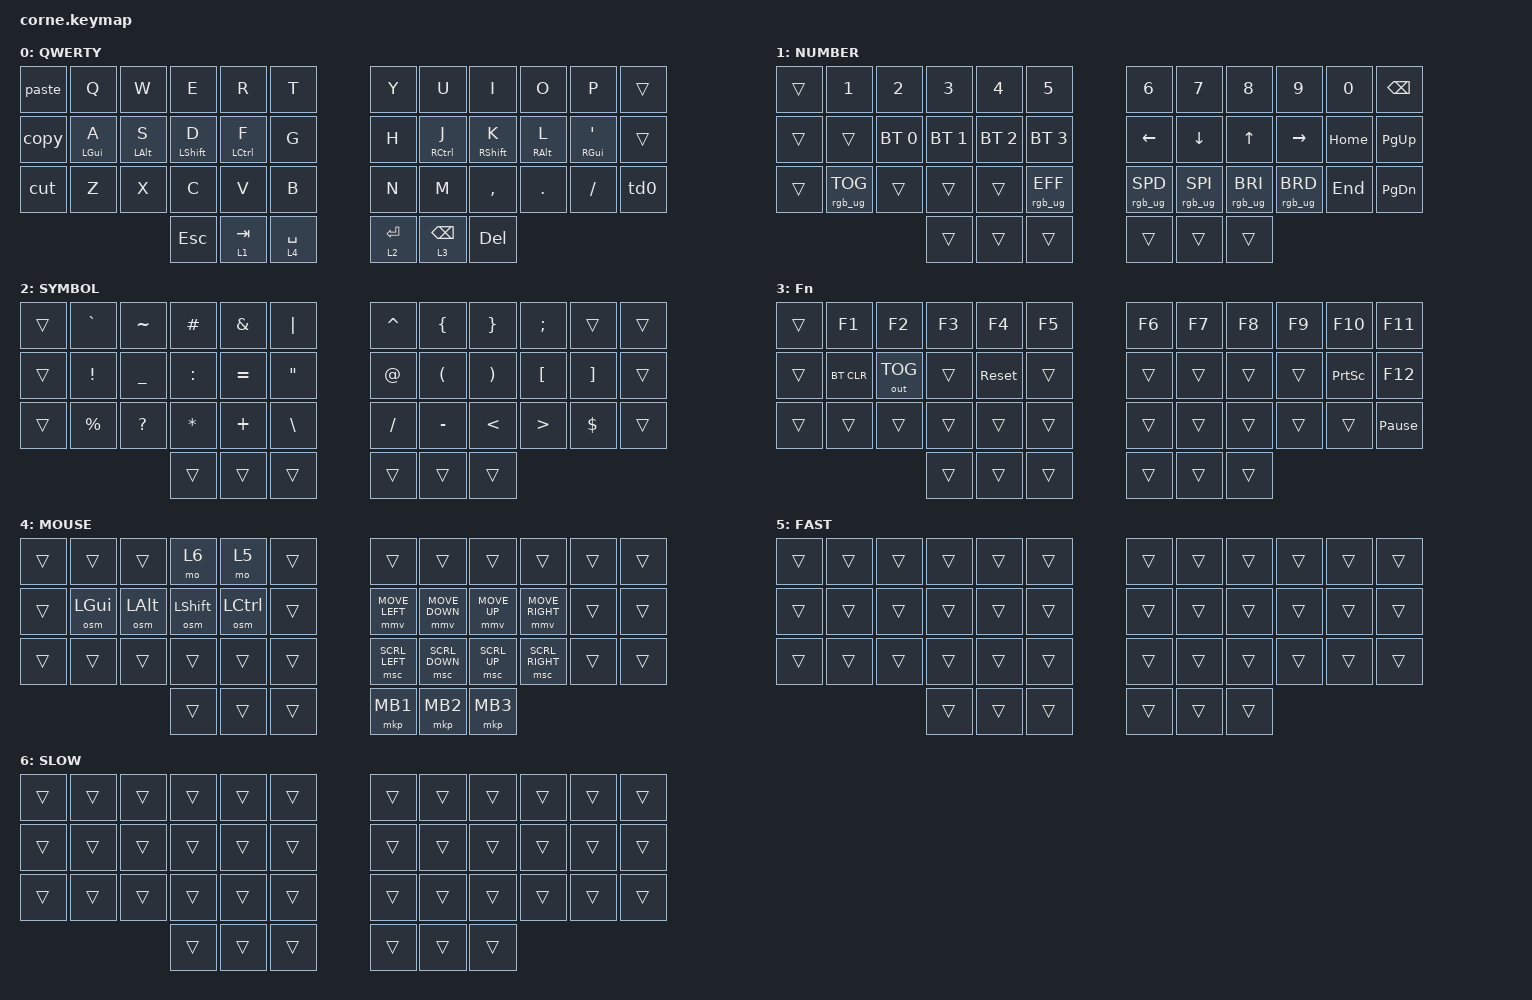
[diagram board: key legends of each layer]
/*
 * Copyright (c) 2020 The ZMK Contributors
 *
 * SPDX-License-Identifier: MIT
 */

#include <behaviors.dtsi>
#include <dt-bindings/zmk/bt.h>
#include <dt-bindings/zmk/keys.h>
#include <dt-bindings/zmk/outputs.h>
#include <dt-bindings/zmk/pointing.h>
#include <dt-bindings/zmk/rgb.h>
#include <input/processors.dtsi>

/ {
    chosen {
        zmk,matrix_transform = &default_transform;

        // zmk,matrix_transform = &five_column_transform;
    };
};

// Cursor speed modifiers. Layers 5 (sprint) and 6 (precision) hold no bindings
// of their own -- they exist only as a signal to these listener overrides,
// which rescale the pointer output while the layer is active. Scaling happens
// after the mmv behavior generates movement, so it multiplies whatever the
// normal acceleration ramp has reached rather than replacing it.
//
// The numbers are <multiplier divisor>: sprint is 4x, precision is 1/4.
// track-remainders is already set on the stock zip_xy_scaler, so the 1/4
// division accumulates leftover fractions instead of rounding them away to
// zero -- that is what makes slow mode move smoothly instead of stuttering.
//
// Order matters: overrides are checked top to bottom, and the first matching
// one wins unless it sets process-next. Sprint is listed first so that holding
// both keys at once resolves to sprint rather than fighting.
&mmv_input_listener {
    sprint {
        layers = <5>;
        input-processors = <&zip_xy_scaler 4 1>;
    };

    precision {
        layers = <6>;
        input-processors = <&zip_xy_scaler 1 4>;
    };
};

// Scrolling gets the same treatment, so the speed keys work on the scroll
// column too. Scroll values are small integers (default 10/s), so a 4x
// divisor without remainder tracking would floor to zero and stop scrolling
// entirely; zip_scroll_scaler tracks remainders for exactly this reason.
&msc_input_listener {
    sprint {
        layers = <5>;
        input-processors = <&zip_scroll_scaler 3 1>;
    };

    precision {
        layers = <6>;
        input-processors = <&zip_scroll_scaler 1 3>;
    };
};

/ {
    behaviors {
        td0: td0 {
            compatible = "zmk,behavior-tap-dance";
            #binding-cells = <0>;
            bindings = <&caps_word>, <&kp CAPS>;
        };

        // Home row mods, "timerless" style (urob). The long tapping-term is
        // deliberate: require-prior-idle-ms does the real work by forcing a tap
        // whenever the key is pressed within 150ms of another key, which is what
        // fast typing looks like. hold-trigger-on-release defers the positional
        // check to release so two mods on the same hand can still be combined.
        // Tuning: same-hand false mods -> raise tapping-term-ms;
        //         cross-hand false mods -> raise require-prior-idle-ms;
        //         missed mods when typing fast -> lower require-prior-idle-ms.
        hml: hml {
            compatible = "zmk,behavior-hold-tap";
            bindings = <&kp>, <&kp>;

            #binding-cells = <2>;
            flavor = "balanced";
            tapping-term-ms = <280>;
            quick-tap-ms = <175>;
            require-prior-idle-ms = <150>;
            hold-trigger-on-release;
            hold-trigger-key-positions = <6 7 8 9 10 11 18 19 20 21 22 23 30 31 32 33 34 35 39 40 41>;
        };

        hmr: hmr {
            compatible = "zmk,behavior-hold-tap";
            bindings = <&kp>, <&kp>;

            #binding-cells = <2>;
            flavor = "balanced";
            tapping-term-ms = <280>;
            quick-tap-ms = <175>;
            require-prior-idle-ms = <150>;
            hold-trigger-on-release;
            hold-trigger-key-positions = <0 1 2 3 4 5 12 13 14 15 16 17 24 25 26 27 28 29 36 37 38>;
        };

        osm: osm {
            compatible = "zmk,behavior-sticky-key";
            bindings = <&kp>;
            #binding-cells = <1>;
            release-after-ms = <1000>;
            lazy;
            ignore-modifiers;
            quick-release;
        };
    };

    combos { compatible = "zmk,combos"; };

    macros {
        copy: copy {
            compatible = "zmk,behavior-macro";
            #binding-cells = <0>;
            bindings =
                <&macro_press>,
                <&kp LCTRL>,
                <&macro_tap>,
                <&kp INS>,
                <&macro_release>,
                <&kp LCTRL>;
        };

        paste: paste {
            compatible = "zmk,behavior-macro";
            #binding-cells = <0>;
            bindings =
                <&macro_press>,
                <&kp LSHFT>,
                <&macro_tap>,
                <&kp INS>,
                <&macro_release>,
                <&kp LSHFT>;
        };

        cut: cut {
            compatible = "zmk,behavior-macro";
            #binding-cells = <0>;
            bindings =
                <&macro_press>,
                <&kp LSHFT>,
                <&macro_tap>,
                <&kp DEL>,
                <&macro_release>,
                <&kp LSHFT>;
        };
    };

    keymap {
        compatible = "zmk,keymap";

        default_layer {
            display-name = "QWERTY";

            // ---------------------------------------------------------------------------------------------
            // | PASTE |  Q  |  W  |  E  |  R  |  T  |   |  Y  |  U  |  I  |  O  |  P  |     |
            // | COPY  |  A  |  S  |  D  |  F  |  G  |   |  H  |  J  |  K  |  L  |  '  |     |
            // | CUT   |  Z  |  X  |  C  |  V  |  B  |   |  N  |  M  |  ,  |  .  |  /  | TD0 |
            //                    | ESC | TAB | SPC |   | ENT | BSPC | DEL |
            //
            // Left column is paste/copy/cut (Shift+Ins / Ctrl+Ins / Shift+Del) -- terminal-safe.
            // Home row is mods: A=GUI S=ALT D=SHFT F=CTRL / J=CTRL K=SHFT L=ALT '=GUI.
            // Thumbs are layer-taps: TAB=L1 SPC=L4 ENT=L2 BSPC=L3. TD0 = caps-word / CAPS.
            // Positions 11 and 23 are unassigned.

            bindings = <
&paste  &kp Q        &kp W        &kp E         &kp R         &kp T          &kp Y        &kp U         &kp I         &kp O        &kp P                   &trans
&copy   &hml LGUI A  &hml LALT S  &hml LSHFT D  &hml LCTRL F  &kp G          &kp H        &hmr RCTRL J  &hmr RSHFT K  &hmr RALT L  &hmr RGUI SINGLE_QUOTE  &trans
&cut    &kp Z        &kp X        &kp C         &kp V         &kp B          &kp N        &kp M         &kp COMMA     &kp DOT      &kp FSLH                &td0
                                  &kp ESC       &lt 1 TAB     &lt 4 SPACE    &lt 2 ENTER  &lt 3 BSPC    &kp DEL
            >;
        };

        lower_layer {
            display-name = "NUMBER";

            // -----------------------------------------------------------------------------------------------------
            // |     |   1    |   2   |   3   |   4   |   5   |   |   6  |   7  |  8  |  9  |  0   | BSPC |
            // |     |        | BT 0  | BT 1  | BT 2  | BT 3  |   | LEFT | DOWN |  UP | RGT | HOME | PGUP |
            // |     | RGB_TOG|       |       |       |RGB_EFF|   | SPD  | SPI  | BRI | BRD | END  | PGDN |
            //                       |     |     |     |   |     |     |     |
            //
            // Position 13 is deliberately empty. It used to hold BT_CLR_ALL, which
            // sat under the same hand as the TAB layer key and one column from
            // BT_SEL 0 -- a single slip wiped every pairing. To clear the current
            // profile, use BT_CLR on the Fn layer (cross-hand).

            bindings = <
&trans  &kp N1           &kp N2        &kp N3        &kp N4        &kp N5             &kp N6           &kp N7           &kp N8           &kp N9           &kp N0    &kp BSPC
&trans  &trans           &bt BT_SEL 0  &bt BT_SEL 1  &bt BT_SEL 2  &bt BT_SEL 3       &kp LEFT         &kp DOWN         &kp UP           &kp RIGHT        &kp HOME  &kp PG_UP
&trans  &rgb_ug RGB_TOG  &trans        &trans        &trans        &rgb_ug RGB_EFF    &rgb_ug RGB_SPD  &rgb_ug RGB_SPI  &rgb_ug RGB_BRI  &rgb_ug RGB_BRD  &kp END   &kp PG_DN
                                       &trans        &trans        &trans             &trans           &trans           &trans
            >;
        };

        raise_layer {
            display-name = "SYMBOL";

            // -----------------------------------------------------------------------------------
            // |     |  `  |  ~  |  #  |  &  | "|" |   |  ^  |  {  |  }  |  ;  |     |     |
            // |     |  !  |  _  |  :  |  =  |  "  |   |  @  |  (  |  )  |  [  |  ]  |     |
            // |     |  %  |  ?  |  *  |  +  |  \  |   |  /  |  -  |  <  |  >  |  $  |     |
            //                   |     |     |     |   |     |     |     |

            bindings = <
&trans  &kp GRAVE    &kp TILDE  &kp HASH   &kp AMPS   &kp PIPE             &kp CARET  &kp LBRC              &kp RBRC               &kp SEMI          &trans             &trans
&trans  &kp EXCL     &kp UNDER  &kp COLON  &kp EQUAL  &kp DOUBLE_QUOTES    &kp AT     &kp LEFT_PARENTHESIS  &kp RIGHT_PARENTHESIS  &kp LEFT_BRACKET  &kp RIGHT_BRACKET  &trans
&trans  &kp PERCENT  &kp QMARK  &kp ASTRK  &kp PLUS   &kp BACKSLASH        &kp SLASH  &kp MINUS             &kp LT                 &kp GT            &kp DOLLAR         &trans
                                &trans     &trans     &trans               &trans     &trans                &trans
            >;
        };

        fn_layer {
            display-name = "Fn";

            // No bootloader key. One sat at pos 30 (N), the same hand as the
            // BSPC layer key, so a pause on backspace then N dropped the right
            // half into flashing mode. Flashing uses the double-tap reset button.
            // BT_CLR (A) and sys_reset (F) are cross-hand from BSPC, so a stray
            // hit needs both hands.

            bindings = <
&trans  &kp F1      &kp F2        &kp F3  &kp F4      &kp F5    &kp F6       &kp F7  &kp F8  &kp F9  &kp F10          &kp F11
&trans  &bt BT_CLR  &out OUT_TOG  &trans  &sys_reset  &trans    &trans       &trans  &trans  &trans  &kp PRINTSCREEN  &kp F12
&trans  &trans      &trans        &trans  &trans      &trans    &trans       &trans  &trans  &trans  &trans           &kp PAUSE_BREAK
                                  &trans  &trans      &trans    &trans       &trans  &trans
            >;
        };

        mouse_layer {
            display-name = "MOUSE";

            // ---------------------------------------------------------------------------------------------
            // |     |     |     | SLOW | FAST |     |   | <-  |  v  |  ^  |  -> |     |     |
            // |     | GUI | ALT | SHFT | CTRL |     |   | SL  | SD  | SU  | SR  |     |     |
            // |     |     |     |      |      |     |   | MB1 | MB2 | MB3 |     |     |     |
            //
            // Entered by holding the SPACE thumb. Right hand drives: home row moves the
            // cursor, row below scrolls, thumbs are the three mouse buttons.
            // Left hand modifies: E-slot = precision (1/4 speed), R-slot = sprint (4x).
            // Hold either while the right hand moves. Home-row sticky mods are for
            // ctrl/shift-click -- tap the mod, then click.

            bindings = <
&trans  &trans     &trans     &mo 6       &mo 5       &trans         &trans          &trans          &trans        &trans           &trans  &trans
&trans  &osm LGUI  &osm LALT  &osm LSHFT  &osm LCTRL  &trans         &mmv MOVE_LEFT  &mmv MOVE_DOWN  &mmv MOVE_UP  &mmv MOVE_RIGHT  &trans  &trans
&trans  &trans     &trans     &trans      &trans      &trans         &msc SCRL_LEFT  &msc SCRL_DOWN  &msc SCRL_UP  &msc SCRL_RIGHT  &trans  &trans
                              &trans      &trans      &trans         &mkp MB1        &mkp MB2        &mkp MB3
            >;
        };

        // Layers 5 and 6 carry no bindings on purpose. They are pure signals
        // for the &mmv_input_listener / &msc_input_listener overrides at the
        // top of this file, which rescale cursor and scroll output while one
        // is active. Every position is &trans so the mouse layer underneath
        // stays fully usable -- move, scroll, click and the sticky mods all
        // keep working while a speed key is held.
        //
        // Do not put real bindings here. Adding one would shadow the mouse
        // layer key at that position for as long as the speed key is held.

        sprint_layer {
            display-name = "FAST";
            bindings = <
&trans  &trans  &trans  &trans  &trans  &trans    &trans  &trans  &trans  &trans  &trans  &trans
&trans  &trans  &trans  &trans  &trans  &trans    &trans  &trans  &trans  &trans  &trans  &trans
&trans  &trans  &trans  &trans  &trans  &trans    &trans  &trans  &trans  &trans  &trans  &trans
                        &trans  &trans  &trans    &trans  &trans  &trans
            >;
        };

        precision_layer {
            display-name = "SLOW";
            bindings = <
&trans  &trans  &trans  &trans  &trans  &trans    &trans  &trans  &trans  &trans  &trans  &trans
&trans  &trans  &trans  &trans  &trans  &trans    &trans  &trans  &trans  &trans  &trans  &trans
&trans  &trans  &trans  &trans  &trans  &trans    &trans  &trans  &trans  &trans  &trans  &trans
                        &trans  &trans  &trans    &trans  &trans  &trans
            >;
        };
    };
};
